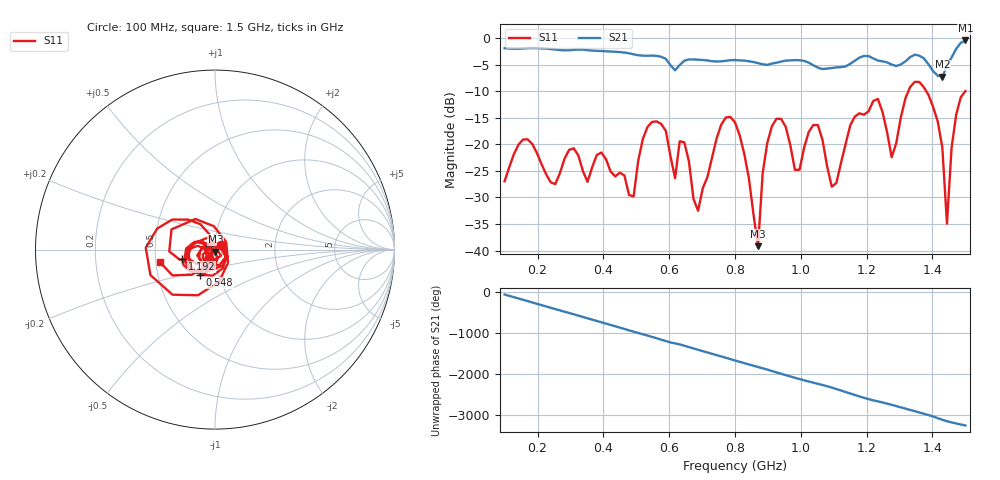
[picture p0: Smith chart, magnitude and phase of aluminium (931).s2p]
! NanoVNA-App
! Date: 2025-09-25 15:02:32
! Start: 100MHz Stop: 1,5GHz Points: 101
! S-Parameter data: F S11 S21 S12 S22
# Hz S RI R 50
!  Frequency  S11_Real  S11_Imag  S21_Real  S21_Imag  S12_Real  S12_Imag  S22_Real  S22_Imag
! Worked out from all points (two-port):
!   101 points, 100 MHz to 1.5 GHz, reference 50 ohm
!   highest |S21| = -0.46 dB at 1.5 GHz (marker M1); lowest = -7.3 dB at 1.43 GHz (marker M2)
!   |S21| within 3 dB of the highest: start of sweep to 570 MHz; 1.46 GHz to end of sweep (the widest 2 of 4)
!   lowest |S11| = -39.2 dB at 870 MHz (marker M3), VSWR 1.02, Z = 50.2 - j1.08 ohm
!   |S11| at or under -10 dB: start of sweep to 1.327 GHz; 1.381 GHz to end of sweep
!   S12 and S22 are empty: the file has one direction only
!   S11 on the Smith chart (normalised r, x): 100 MHz: 1.07, +0.06; 548 MHz: 0.82, -0.24; 1.192 GHz: 0.69, -0.08; 1.5 GHz: 0.52, -0.08
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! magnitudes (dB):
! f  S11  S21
! 100 MHz  -27.0  -1.9
! 156 MHz  -19.1  -2.0
! 338 MHz  -25.1  -2.2
! 492 MHz  -29.8  -3.1
! 548 MHz  -15.8  -3.3
! 576 MHz  -16.2  -3.5
! 646 MHz  -19.6  -4.3
! 688 MHz  -32.5  -4.1
! 800 MHz  -15.9  -4.2
! 870 MHz  -39.2  -4.7
! 912 MHz  -16.6  -4.8
! 996 MHz  -24.8  -4.2
! 1.038 GHz  -16.4  -5.1
! 1.094 GHz  -28.0  -5.7
! 1.192 GHz  -14.4  -3.4
! 1.234 GHz  -11.5  -4.2
! 1.276 GHz  -22.5  -5.0
! 1.346 GHz  -8.3  -3.1
! 1.43 GHz  -20.7  -7.3
! 1.444 GHz  -34.9  -5.2
! 1.472 GHz  -14.4  -2.0
! 1.5 GHz  -10.0  -0.5
